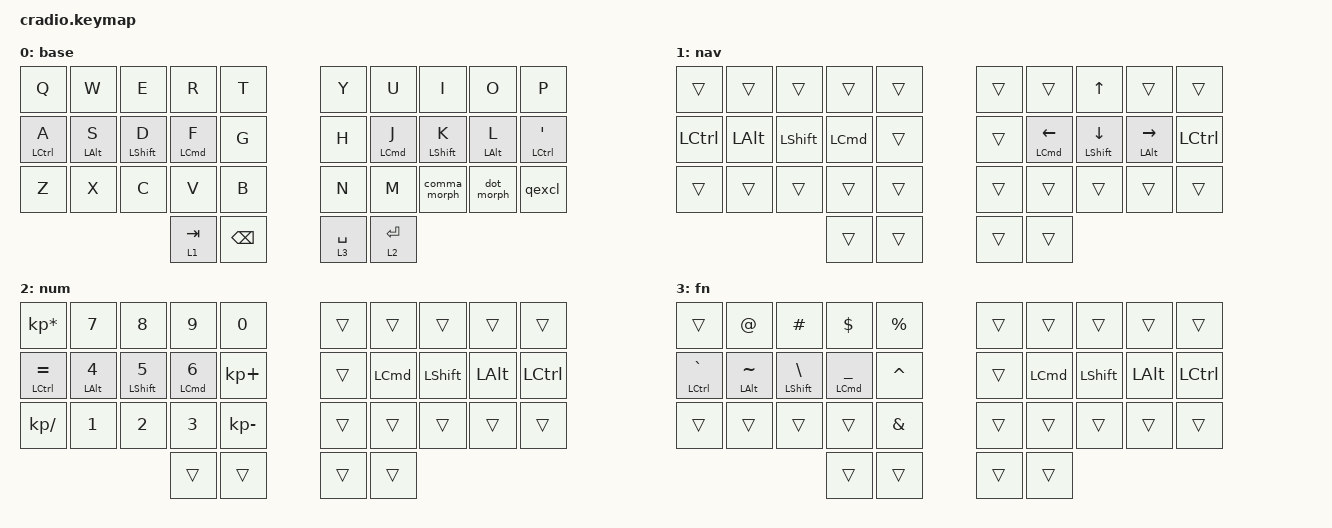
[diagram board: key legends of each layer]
// Copyright (c) 2022 The ZMK Contributors
// SPDX-License-Identifier: MIT

#include <behaviors.dtsi>
#include <dt-bindings/zmk/keys.h>

// Home row mods macro

#define HRML(k1,k2,k3,k4) &ht LSHFT k1  &ht LALT k2  &ht LCTRL k3  &ht LGUI k4
#define HRMR(k1,k2,k3,k4) &ht RGUI k1  &ht RCTRL k2  &ht RALT k3  &ht RSHFT k4

/ {
    behaviors {
        hm: hm {
            compatible = "zmk,behavior-hold-tap";
            label = "HM";
            bindings = <&kp>, <&kp>;

            #binding-cells = <2>;
            tapping-term-ms = <200>;
            quick-tap-ms = <150>;
            flavor = "balanced";
            require-prior-idle-ms = <125>;
        };

        qexcl: qexcl {
            compatible = "zmk,behavior-mod-morph";
            label = "QEXCL";
            bindings = <&kp QMARK>, <&kp EXCL>;

            #binding-cells = <0>;
            mods = <(MOD_LSFT)>;
        };

        lpar: lpar {
            compatible = "zmk,behavior-mod-morph";
            label = "LPAR";
            bindings = <&kp LPAR>, <&kp LT>;

            #binding-cells = <0>;
            mods = <(MOD_LSFT)>;
        };

        rpar: rpar {
            compatible = "zmk,behavior-mod-morph";
            label = "RPAR";
            bindings = <&kp RPAR>, <&kp GT>;

            #binding-cells = <0>;
            mods = <(MOD_LSFT)>;
        };

        dot_morph: dot_morph {
            compatible = "zmk,behavior-mod-morph";
            label = "DOT_MORPH";
            bindings = <&kp DOT>, <&kp COLON>;

            #binding-cells = <0>;
            mods = <(MOD_LSFT)>;
        };

        comma_morph: comma_morph {
            compatible = "zmk,behavior-mod-morph";
            label = "COMMA_MORPH";
            bindings = <&kp COMMA>, <&kp SEMI>;

            #binding-cells = <0>;
            mods = <(MOD_LSFT)>;
        };

        hml: hml {
            compatible = "zmk,behavior-hold-tap";
            label = "HML";
            bindings = <&kp>, <&kp>;

            #binding-cells = <2>;
            tapping-term-ms = <200>;
            quick-tap-ms = <150>;
            require-prior-idle-ms = <125>;
            flavor = "balanced";
            hold-trigger-key-positions = <5 6 7 8 9 15 16 17 18 19 25 26 27 28 29 32 33>;
            hold-trigger-on-release;
        };

        hmr: hmr {
            compatible = "zmk,behavior-hold-tap";
            label = "HMR";
            bindings = <&kp>, <&kp>;

            #binding-cells = <2>;
            tapping-term-ms = <200>;
            quick-tap-ms = <150>;
            require-prior-idle-ms = <125>;
            flavor = "balanced";
            hold-trigger-on-release;
            hold-trigger-key-positions = <0 1 2 3 4 10 11 12 13 14 20 21 22 23 24 30 31>;
        };
    };

    conditional_layers { compatible = "zmk,conditional-layers"; };

    combos {
        compatible = "zmk,combos";

        bspc {
            bindings = <&kp BACKSPACE>;
            key-positions = <6 7>;
            require-prior-idle-ms = <120>;
            timeout-ms = <25>;
            layers = <0>;
        };

        del {
            bindings = <&kp DELETE>;
            key-positions = <7 8>;
            require-prior-idle-ms = <120>;
            timeout-ms = <25>;
            layers = <0>;
        };

        brack1 {
            bindings = <&kp RBKT>;
            key-positions = <28 27>;
            require-prior-idle-ms = <120>;
            timeout-ms = <25>;
            layers = <0>;
        };

        brack2 {
            bindings = <&kp LBKT>;
            key-positions = <27 26>;
            require-prior-idle-ms = <120>;
            timeout-ms = <25>;
            layers = <0>;
        };

        brack3 {
            bindings = <&lpar>;
            key-positions = <17 16>;
            require-prior-idle-ms = <120>;
            timeout-ms = <25>;
            layers = <0>;
        };

        brack4 {
            bindings = <&rpar>;
            key-positions = <17 18>;
            require-prior-idle-ms = <120>;
            timeout-ms = <25>;
            layers = <0>;
        };

        caps {
            bindings = <&kp CAPSLOCK>;
            key-positions = <12 13>;
            timeout-ms = <25>;
            require-prior-idle-ms = <120>;
            layers = <0>;
        };

        esc {
            bindings = <&kp ESC>;
            key-positions = <12 11>;
            timeout-ms = <25>;
            require-prior-idle-ms = <120>;
            layers = <0>;
        };
    };

    keymap {
        compatible = "zmk,keymap";

        base {
            bindings = <
&kp Q         &kp W            &kp E          &kp R        &kp T            &kp Y        &kp U        &kp I         &kp O            &kp P
&hml LCTRL A  &hml LEFT_ALT S  &hml LSHIFT D  &hml LCMD F  &kp G            &kp H        &hmr LCMD J  &hmr LSHFT K  &hmr LEFT_ALT L  &hmr LCTRL SQT
&kp Z         &kp X            &kp C          &kp V        &kp B            &kp N        &kp M        &comma_morph  &dot_morph       &qexcl
                                              &lt 1 TAB    &kp BACKSPACE    &lt 3 SPACE  &lt 2 ENTER
            >;
        };

        nav {
            bindings = <
&trans     &trans    &trans      &trans    &trans    &trans  &trans               &kp UP_ARROW           &trans                &trans
&kp LCTRL  &kp LALT  &kp LSHIFT  &kp LCMD  &trans    &trans  &hm LCMD LEFT_ARROW  &hm LSHIFT DOWN_ARROW  &hm LALT RIGHT_ARROW  &kp LCTRL
&trans     &trans    &trans      &trans    &trans    &trans  &trans               &trans                 &trans                &trans
                                 &trans    &trans    &trans  &trans
            >;
        };

        num {
            bindings = <
&kp KP_ASTERISK   &kp N7            &kp N8              &kp N9        &kp N0          &trans  &trans    &trans      &trans        &trans
&hml LCTRL EQUAL  &hml LEFT_ALT N4  &hml LEFT_SHIFT N5  &hml LCMD N6  &kp KP_PLUS     &trans  &kp LCMD  &kp LSHIFT  &kp LEFT_ALT  &kp LCTRL
&kp KP_DIVIDE     &kp N1            &kp N2              &kp N3        &kp KP_MINUS    &trans  &trans    &trans      &trans        &trans
                                                        &trans        &trans          &trans  &trans
            >;
        };

        fn {
            bindings = <
&trans           &kp AT              &kp POUND             &kp DLLR        &kp PRCNT    &trans  &trans    &trans      &trans        &trans
&hm LCTRL GRAVE  &hm LEFT_ALT TILDE  &hm LSHIFT BACKSLASH  &hm LCMD UNDER  &kp CARET    &trans  &kp LCMD  &kp LSHIFT  &kp LEFT_ALT  &kp LCTRL
&trans           &trans              &trans                &trans          &kp AMPS     &trans  &trans    &trans      &trans        &trans
                                                           &trans          &trans       &trans  &trans
            >;
        };
    };
};
